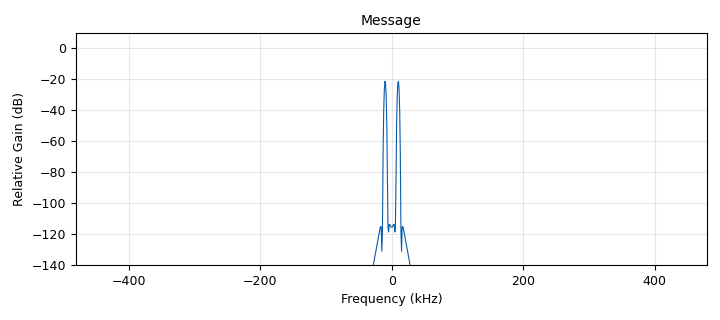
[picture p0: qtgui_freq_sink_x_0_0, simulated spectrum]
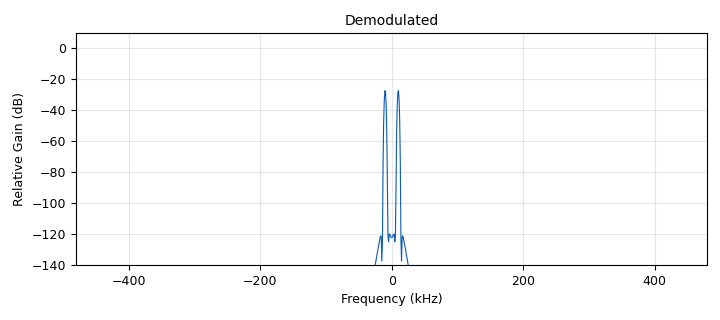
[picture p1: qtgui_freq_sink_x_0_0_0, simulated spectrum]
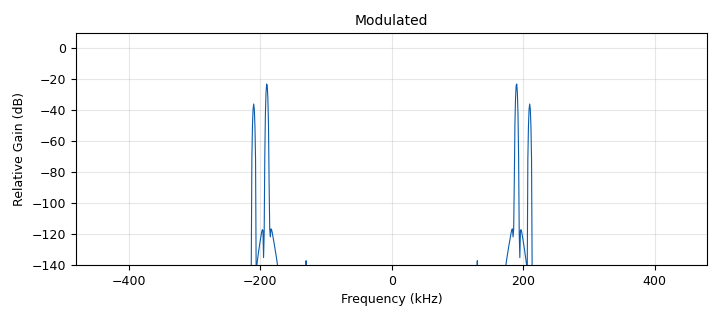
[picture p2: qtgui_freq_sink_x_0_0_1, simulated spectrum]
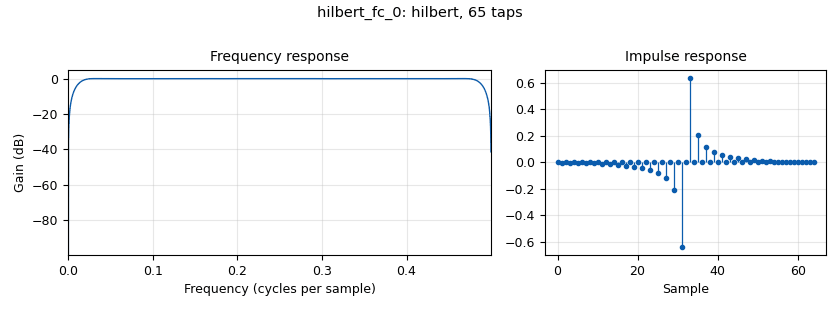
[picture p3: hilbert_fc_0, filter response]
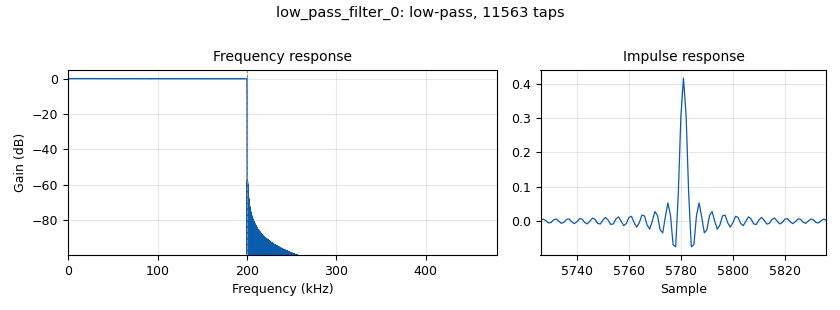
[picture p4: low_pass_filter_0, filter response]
options:
  parameters:
    author: lol
    generate_options: qt_gui
    id: ssb_ls
    output_language: python
    title: Not titled yet
  states: {}

blocks:
- name: fc
  id: variable
  parameters:
    value: '200000'
  states: {}
- name: fm
  id: variable
  parameters:
    value: '10000'
  states: {}
- name: samp_rate
  id: variable
  parameters:
    value: '960000'
  states: {}
- name: analog_sig_source_x_0
  id: analog_sig_source_x
  parameters:
    amp: '1'
    freq: fc
    offset: '0'
    phase: '-3.14159/2'
    samp_rate: samp_rate
    type: float
    waveform: analog.GR_COS_WAVE
  states: {}
- name: analog_sig_source_x_0_0
  id: analog_sig_source_x
  parameters:
    amp: '0.5'
    freq: fm
    offset: '0'
    phase: '0'
    samp_rate: samp_rate
    type: float
    waveform: analog.GR_COS_WAVE
  states: {}
- name: analog_sig_source_x_0_1
  id: analog_sig_source_x
  parameters:
    amp: '1'
    freq: fc
    offset: '0'
    phase: '0'
    samp_rate: samp_rate
    type: float
    waveform: analog.GR_COS_WAVE
  states: {}
- name: analog_sig_source_x_0_1_0
  id: analog_sig_source_x
  parameters:
    amp: '1'
    freq: fc
    offset: '0'
    phase: '0'
    samp_rate: samp_rate
    type: float
    waveform: analog.GR_COS_WAVE
  states: {}
- name: blocks_add_xx_0
  id: blocks_add_xx
  parameters:
    type: float
  states: {}
- name: blocks_complex_to_imag_0
  id: blocks_complex_to_imag
  parameters: {}
  states: {}
- name: blocks_complex_to_real_0
  id: blocks_complex_to_real
  parameters: {}
  states: {}
- name: blocks_multiply_xx_0
  id: blocks_multiply_xx
  parameters:
    type: float
  states: {}
- name: blocks_multiply_xx_0_0
  id: blocks_multiply_xx
  parameters:
    type: float
  states: {}
- name: blocks_multiply_xx_0_0_0
  id: blocks_multiply_xx
  parameters:
    type: float
  states: {}
- name: hilbert_fc_0
  id: hilbert_fc
  parameters:
    num_taps: '65'
  states: {}
- name: low_pass_filter_0
  id: low_pass_filter
  parameters:
    cutoff_freq: fc
    decim: '1'
    gain: '1'
    samp_rate: samp_rate
    type: fir_filter_fff
    width: fc/1000
    win: window.WIN_HAMMING
  states: {}
- name: qtgui_freq_sink_x_0_0
  id: qtgui_freq_sink_x
  parameters:
    bw: samp_rate
    fc: '0'
    fftsize: '1024'
    name: Message
    type: float
  states: {}
- name: qtgui_freq_sink_x_0_0_0
  id: qtgui_freq_sink_x
  parameters:
    bw: samp_rate
    fc: '0'
    fftsize: '1024'
    name: Demodulated
    type: float
  states: {}
- name: qtgui_freq_sink_x_0_0_1
  id: qtgui_freq_sink_x
  parameters:
    bw: samp_rate
    fc: '0'
    fftsize: '1024'
    name: Modulated
    type: float
  states: {}

connections:
- [analog_sig_source_x_0, '0', blocks_multiply_xx_0_0, '1']
- [analog_sig_source_x_0_0, '0', hilbert_fc_0, '0']
- [analog_sig_source_x_0_0, '0', qtgui_freq_sink_x_0_0, '0']
- [analog_sig_source_x_0_1, '0', blocks_multiply_xx_0, '0']
- [analog_sig_source_x_0_1_0, '0', blocks_multiply_xx_0_0_0, '0']
- [blocks_add_xx_0, '0', blocks_multiply_xx_0_0_0, '1']
- [blocks_add_xx_0, '0', qtgui_freq_sink_x_0_0_1, '0']
- [blocks_complex_to_imag_0, '0', blocks_multiply_xx_0_0, '0']
- [blocks_complex_to_real_0, '0', blocks_multiply_xx_0, '1']
- [blocks_multiply_xx_0, '0', blocks_add_xx_0, '0']
- [blocks_multiply_xx_0_0, '0', blocks_add_xx_0, '1']
- [blocks_multiply_xx_0_0_0, '0', low_pass_filter_0, '0']
- [hilbert_fc_0, '0', blocks_complex_to_imag_0, '0']
- [hilbert_fc_0, '0', blocks_complex_to_real_0, '0']
- [low_pass_filter_0, '0', qtgui_freq_sink_x_0_0_0, '0']

metadata:
  file_format: 1
  grc_version: 3.10.3.0
